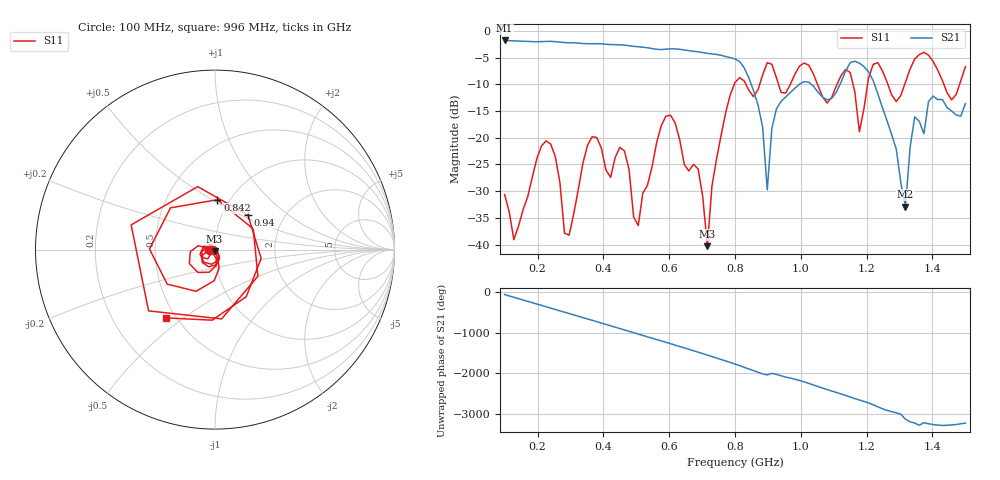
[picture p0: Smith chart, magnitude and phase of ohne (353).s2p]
! NanoVNA-App
! Date: 2025-09-25 14:23:32
! Start: 100MHz Stop: 1,5GHz Points: 101
! S-Parameter data: F S11 S21 S12 S22
# Hz S RI R 50
!  Frequency  S11_Real  S11_Imag  S21_Real  S21_Imag  S12_Real  S12_Imag  S22_Real  S22_Imag
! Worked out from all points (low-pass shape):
!   101 points, 100 MHz to 1.5 GHz, reference 50 ohm
!   highest |S21| = -1.79 dB at 100 MHz (marker M1); lowest = -32.9 dB at 1.318 GHz (marker M2)
!   |S21| within 3 dB of the highest: start of sweep to 771.1 MHz
!   lowest |S11| = -40.3 dB at 716 MHz (marker M3), VSWR 1.02, Z = 49.7 - j0.923 ohm
!   |S11| at or under -10 dB: start of sweep to 797.9 MHz; 833.1 MHz to 875.1 MHz (42.02 MHz wide, 4.92 % of centre); 1.051 GHz to 1.11 GHz (59.48 MHz wide, 5.51 % of centre) (the widest 3 of 7)
!   S12 and S22 are empty: the file has one direction only
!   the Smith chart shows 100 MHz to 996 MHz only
!   S11 on the Smith chart (normalised r, x): 100 MHz: 0.94, -0.01; 842 MHz: 0.88, +0.53; 940 MHz: 1.32, +0.55; 996 MHz: 0.44, -0.43
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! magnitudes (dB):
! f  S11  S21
! 100 MHz  -30.6  -1.8
! 128 MHz  -39.1  -1.9
! 226 MHz  -20.6  -2.0
! 296 MHz  -38.2  -2.2
! 338 MHz  -24.7  -2.4
! 464 MHz  -22.5  -2.7
! 506 MHz  -36.4  -3.0
! 576 MHz  -17.7  -3.5
! 688 MHz  -25.9  -3.9
! 716 MHz  -40.3  -4.2
! 800 MHz  -9.7  -5.3
! 842 MHz  -11.1  -8.8
! 898 MHz  -6.0  -29.7
! 940 MHz  -11.5  -13.2
! 996 MHz  -6.6  -10.0
! 1.038 GHz  -8.0  -10.3
! 1.178 GHz  -18.9  -6.0
! 1.22 GHz  -6.3  -9.3
! 1.276 GHz  -12.0  -19.4
! 1.318 GHz  -9.6  -32.9
! 1.346 GHz  -5.3  -16.1
! 1.5 GHz  -6.7  -13.6
